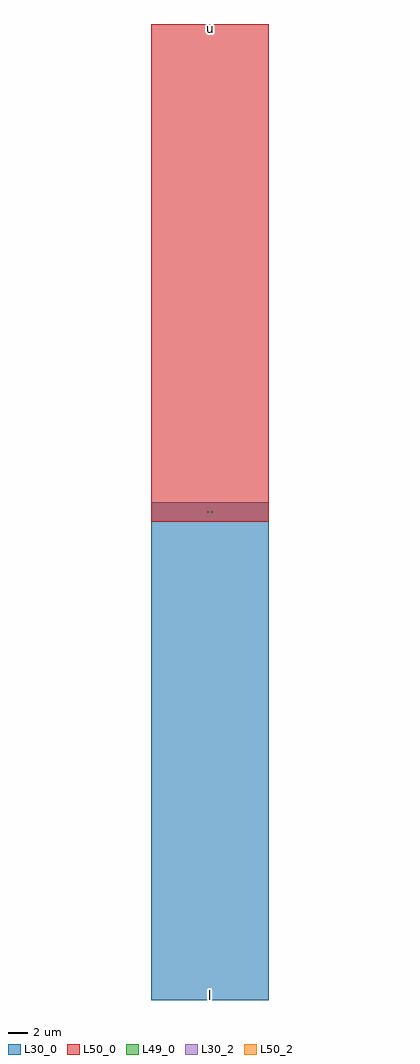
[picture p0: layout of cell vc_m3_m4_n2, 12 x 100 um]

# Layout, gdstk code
import gdstk
lib = gdstk.Library(unit=1e-6, precision=1e-09)
def R(c, l, rs):  # rectangles x0, y0, x1, y1
    for r in rs: c.add(gdstk.rectangle(r[:2], r[2:], *l))
L30_0 = (30, 0)
L30_2 = (30, 2)
L49_0 = (49, 0)
L50_0 = (50, 0)
L50_2 = (50, 2)

vc_m3_m4_n2 = lib.new_cell('vc_m3_m4_n2')
R(vc_m3_m4_n2, L30_0, [(0,0,12,51)])
R(vc_m3_m4_n2, L30_2, [(5.9,0.4,6.1,0.6)])
R(vc_m3_m4_n2, L49_0, [(5.7,49.905,5.89,50.095), (6.11,49.905,6.3,50.095)])
R(vc_m3_m4_n2, L50_0, [(0,49,12,100)])
R(vc_m3_m4_n2, L50_2, [(5.9,99.4,6.1,99.6)])
vc_m3_m4_n2.add(gdstk.Label('l', (6,0.5), layer=30, texttype=2))
vc_m3_m4_n2.add(gdstk.Label('u', (6,99.5), layer=50, texttype=2))

lib.write_gds('vc_m3_m4_n2.gds')
